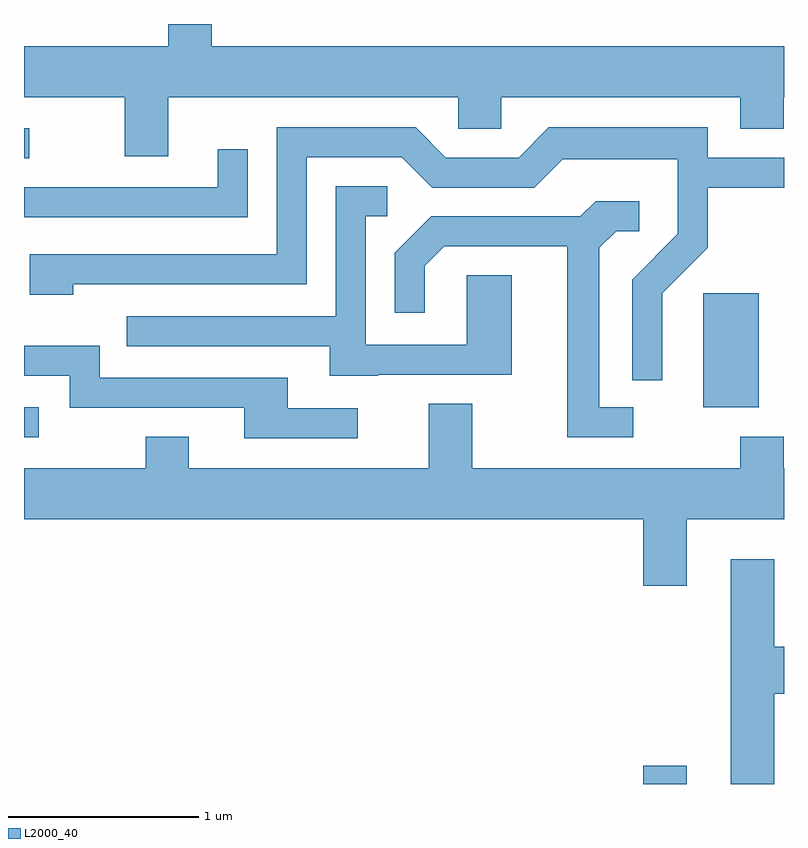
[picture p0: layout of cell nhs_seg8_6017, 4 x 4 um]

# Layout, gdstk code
import gdstk
lib = gdstk.Library(unit=1e-6, precision=1e-09)
def R(c, l, rs):  # rectangles x0, y0, x1, y1
    for r in rs: c.add(gdstk.rectangle(r[:2], r[2:], *l))
def P(c, l, *ps):  # polygons
    for p in ps: c.add(gdstk.Polygon(p, *l))
L2000_40 = (2000, 40)

nhs_seg8_6017 = lib.new_cell('nhs_seg8_6017')
R(nhs_seg8_6017, L2000_40, [(368.871,1848.342,369.099,1848.439), (365.611,1850.166,365.688,1850.324), (369.186,1850.326,369.479,1850.924), (365.611,1851.636,365.638,1851.794)])
P(nhs_seg8_6017, L2000_40, [(366.599,1852.342),(366.371,1852.342),(366.371,1852.224),(365.611,1852.224),(365.611,1851.956),(366.141,1851.956),(366.141,1851.646),(366.369,1851.646),(366.369,1851.956),(367.896,1851.956),(367.896,1851.791),(368.124,1851.791),(368.124,1851.956),(369.381,1851.956),(369.381,1851.791),(369.609,1851.791),(369.609,1851.956),(369.611,1851.956),(369.611,1852.224),(366.599,1852.224)],
  [(368.969,1850.924),(369.209,1851.164),(369.209,1851.481),(369.611,1851.481),(369.611,1851.639),(369.209,1851.639),(369.209,1851.799),(368.374,1851.799),(368.214,1851.639),(367.832,1851.639),(367.672,1851.799),(366.941,1851.799),(366.941,1851.129),(365.641,1851.129),(365.641,1850.916),(365.869,1850.916),(365.869,1850.971),(367.099,1850.971),(367.099,1851.641),(367.599,1851.641),(367.759,1851.481),(368.297,1851.481),(368.447,1851.631),(369.051,1851.631),(369.051,1851.237),(368.811,1850.997),(368.811,1850.468),(368.969,1850.468)],
  [(366.789,1851.683),(366.631,1851.683),(366.631,1851.484),(365.611,1851.484),(365.611,1851.326),(366.789,1851.326)],
  [(367.475,1850.496),(368.179,1850.496),(368.179,1851.019),(367.941,1851.019),(367.941,1850.654),(367.409,1850.654),(367.409,1851.331),(367.523,1851.331),(367.523,1851.489),(367.251,1851.489),(367.251,1850.804),(366.153,1850.804),(366.153,1850.646),(367.221,1850.646),(367.221,1850.491),(367.475,1850.491)],
  [(368.818,1850.324),(368.639,1850.324),(368.639,1851.164),(368.727,1851.251),(368.848,1851.251),(368.848,1851.409),(368.619,1851.409),(368.539,1851.329),(367.754,1851.329),(367.561,1851.137),(367.561,1850.823),(367.719,1850.823),(367.719,1851.069),(367.822,1851.171),(368.471,1851.171),(368.471,1850.166),(368.818,1850.166)],
  [(367.368,1850.319),(366.999,1850.319),(366.999,1850.479),(366.009,1850.479),(366.009,1850.649),(365.611,1850.649),(365.611,1850.491),(365.851,1850.491),(365.851,1850.321),(366.771,1850.321),(366.771,1850.161),(367.368,1850.161)],
  [(369.099,1849.736),(369.611,1849.736),(369.611,1850.004),(369.609,1850.004),(369.609,1850.169),(369.381,1850.169),(369.381,1850.004),(367.969,1850.004),(367.969,1850.344),(367.741,1850.344),(367.741,1850.004),(366.479,1850.004),(366.479,1850.169),(366.251,1850.169),(366.251,1850.004),(365.611,1850.004),(365.611,1849.736),(368.871,1849.736),(368.871,1849.386),(369.099,1849.386)],
  [(369.559,1848.816),(369.611,1848.816),(369.611,1849.064),(369.559,1849.064),(369.559,1849.524),(369.331,1849.524),(369.331,1848.342),(369.559,1848.342)])

lib.write_gds('nhs_seg8_6017.gds')
